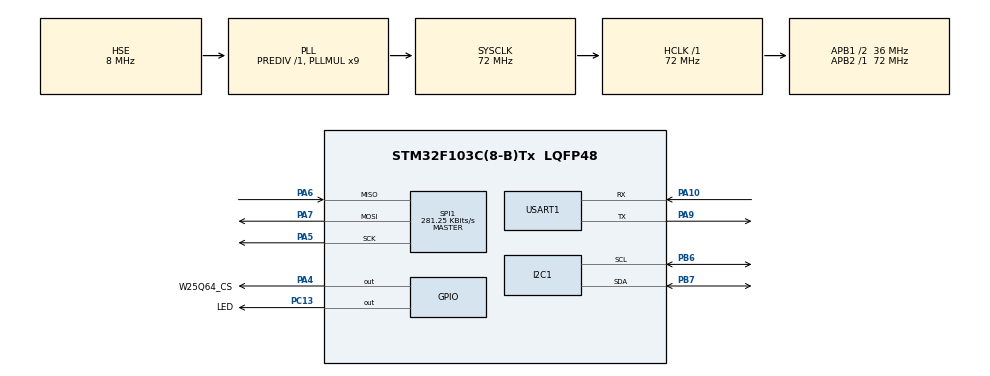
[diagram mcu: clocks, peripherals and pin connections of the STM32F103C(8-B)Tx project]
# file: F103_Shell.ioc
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FREERTOS.Queues01=uart_rx_queue,64,uint8_t,0,Dynamic,NULL,NULL
FREERTOS.Tasks01=defaultTask,24,128,StartDefaultTask,Default,NULL,Dynamic,NULL,NULL
FREERTOS.configTOTAL_HEAP_SIZE=8192
Mcu.Family=STM32F1
Mcu.Name=STM32F103C(8-B)Tx
Mcu.Package=LQFP48
NVIC.PriorityGroup=NVIC_PRIORITYGROUP_4
NVIC.TIM4_IRQn=true\:15\:0\:false\:false\:true\:false\:false\:true\:true
NVIC.TimeBase=TIM4_IRQn
NVIC.TimeBaseIP=TIM4
NVIC.USART1_IRQn=true\:5\:0\:false\:false\:true\:true\:true\:true\:true
PA10.Mode=Asynchronous
PA10.Signal=USART1_RX
PA13.Mode=Serial_Wire
PA13.Signal=SYS_JTMS-SWDIO
PA14.Mode=Serial_Wire
PA14.Signal=SYS_JTCK-SWCLK
PA4.GPIO_Label=W25Q64_CS
PA4.GPIO_Speed=GPIO_SPEED_FREQ_HIGH
PA4.PinState=GPIO_PIN_SET
PA4.Signal=GPIO_Output
PA5.Mode=Full_Duplex_Master
PA5.Signal=SPI1_SCK
PA6.Mode=Full_Duplex_Master
PA6.Signal=SPI1_MISO
PA7.Mode=Full_Duplex_Master
PA7.Signal=SPI1_MOSI
PA9.Mode=Asynchronous
PA9.Signal=USART1_TX
PB6.Mode=I2C
PB6.Signal=I2C1_SCL
PB7.Mode=I2C
PB7.Signal=I2C1_SDA
PC13-TAMPER-RTC.GPIO_Label=LED
PC13-TAMPER-RTC.Signal=GPIO_Output
PD0-OSC_IN.Mode=HSE-External-Oscillator
PD0-OSC_IN.Signal=RCC_OSC_IN
PD1-OSC_OUT.Mode=HSE-External-Oscillator
PD1-OSC_OUT.Signal=RCC_OSC_OUT
ProjectManager.HeapSize=0x200
ProjectManager.StackSize=0x400
ProjectManager.TargetToolchain=CMake
RCC.AHBFreq_Value=72000000
RCC.APB1CLKDivider=RCC_HCLK_DIV2
RCC.APB1Freq_Value=36000000
RCC.APB1TimFreq_Value=72000000
RCC.APB2Freq_Value=72000000
RCC.APB2TimFreq_Value=72000000
RCC.HCLKFreq_Value=72000000
RCC.PLLMUL=RCC_PLL_MUL9
RCC.PLLSourceVirtual=RCC_PLLSOURCE_HSE
RCC.SYSCLKFreq_VALUE=72000000
RCC.SYSCLKSource=RCC_SYSCLKSOURCE_PLLCLK
RCC.USBFreq_Value=72000000
SPI1.BaudRatePrescaler=SPI_BAUDRATEPRESCALER_256
SPI1.CalculateBaudRate=281.25 KBits/s
SPI1.Direction=SPI_DIRECTION_2LINES
SPI1.Mode=SPI_MODE_MASTER
SPI1.VirtualType=VM_MASTER
USART1.VirtualMode=VM_ASYNC
VP_FREERTOS_VS_CMSIS_V2.Mode=CMSIS_V2
VP_SYS_VS_tim4.Mode=TIM4
board=custom

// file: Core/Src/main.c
/* USER CODE BEGIN Header */
/**
 ******************************************************************************
 * @file           : main.c
 * @brief          : Main program body
 ******************************************************************************
 * @attention
 *
 * Copyright (c) 2026 STMicroelectronics.
 * All rights reserved.
 *
 * This software is licensed under terms that can be found in the LICENSE file
 * in the root directory of this software component.
 * If no LICENSE file comes with this software, it is provided AS-IS.
 *
 ******************************************************************************
 */
/* USER CODE END Header */
#include "main.h"
#include "cmsis_os.h"
#include "gpio.h"
#include "i2c.h"
#include "spi.h"
#include "usart.h"

void SystemClock_Config(void);
void MX_FREERTOS_Init(void);

int main(void) {

  /* MCU Configuration--------------------------------------------------------*/

  /* Reset of all peripherals, Initializes the Flash interface and the Systick.
   */
  HAL_Init();

  /* Configure the system clock */
  SystemClock_Config();

  /* Initialize all configured peripherals */
  MX_GPIO_Init();
  MX_I2C1_Init();
  MX_USART1_UART_Init();
  MX_SPI1_Init();

  /* Init scheduler */
  osKernelInitialize(); /* Call init function for freertos objects (in
                           cmsis_os2.c) */
  MX_FREERTOS_Init();

  /* Start scheduler */
  osKernelStart();

  /* We should never get here as control is now taken by the scheduler */

  /* Infinite loop */
  while (1) {

  }
}

void SystemClock_Config(void) {
  RCC_OscInitTypeDef RCC_OscInitStruct = {0};
  RCC_ClkInitTypeDef RCC_ClkInitStruct = {0};

  /** Initializes the RCC Oscillators according to the specified parameters
   * in the RCC_OscInitTypeDef structure.
   */
  RCC_OscInitStruct.OscillatorType = RCC_OSCILLATORTYPE_HSE;
  RCC_OscInitStruct.HSEState = RCC_HSE_ON;
  RCC_OscInitStruct.HSEPredivValue = RCC_HSE_PREDIV_DIV1;
  RCC_OscInitStruct.HSIState = RCC_HSI_ON;
  RCC_OscInitStruct.PLL.PLLState = RCC_PLL_ON;
  RCC_OscInitStruct.PLL.PLLSource = RCC_PLLSOURCE_HSE;
  RCC_OscInitStruct.PLL.PLLMUL = RCC_PLL_MUL9;
  if (HAL_RCC_OscConfig(&RCC_OscInitStruct) != HAL_OK) {
    Error_Handler();
  }

  /** Initializes the CPU, AHB and APB buses clocks
   */
  RCC_ClkInitStruct.ClockType = RCC_CLOCKTYPE_HCLK | RCC_CLOCKTYPE_SYSCLK |
                                RCC_CLOCKTYPE_PCLK1 | RCC_CLOCKTYPE_PCLK2;
  RCC_ClkInitStruct.SYSCLKSource = RCC_SYSCLKSOURCE_PLLCLK;
  RCC_ClkInitStruct.AHBCLKDivider = RCC_SYSCLK_DIV1;
  RCC_ClkInitStruct.APB1CLKDivider = RCC_HCLK_DIV2;
  RCC_ClkInitStruct.APB2CLKDivider = RCC_HCLK_DIV1;

  if (HAL_RCC_ClockConfig(&RCC_ClkInitStruct, FLASH_LATENCY_2) != HAL_OK) {
    Error_Handler();
  }
}

void HAL_TIM_PeriodElapsedCallback(TIM_HandleTypeDef *htim) {
  if (htim->Instance == TIM4) {
    HAL_IncTick();
  }
}

void Error_Handler(void) {
  __disable_irq();
  while (1) {
  }
}
#ifdef USE_FULL_ASSERT
/**
 * @brief  Reports the name of the source file and the source line number
 *         where the assert_param error has occurred.
 * @param  file: pointer to the source file name
 * @param  line: assert_param error line source number
 * @retval None
 */
void assert_failed(uint8_t *file, uint32_t line) {
  /* USER CODE BEGIN 6 */
  /* User can add his own implementation to report the file name and line
     number, ex: printf("Wrong parameters value: file %s on line %d\r\n", file,
     line) */
  /* USER CODE END 6 */
}
#endif /* USE_FULL_ASSERT */

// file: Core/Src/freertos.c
/* USER CODE BEGIN Header */
/**
 ******************************************************************************
 * File Name          : freertos.c
 * Description        : Code for freertos applications
 ******************************************************************************
 */
/* USER CODE END Header */

#include "FreeRTOS.h"
#include "cmsis_os.h"
#include "main.h"
#include "task.h"

/* USER CODE BEGIN Includes */
#include "protocol.h"
#include "sensor_data.h"
#include "stdio.h"
#include "string.h"
#include "w25q64.h"

/* USER CODE END Includes */

/* USER CODE BEGIN PTD */
#define LOG_MAGIC 0xA5
#define FLASH_LOG_START_ADDR 0x000000
#define FLASH_LOG_SECTOR_SIZE 4096
typedef struct {
  uint8_t magic;
  uint32_t timestamp;
  int16_t accel_x;
  int16_t accel_y;
  int16_t accel_z;
  uint8_t reserved[4]; // 4 bytes (Padding)
  uint8_t checksum;
  // total: 16 Bytes
} __attribute__((packed)) LogEntry_t;

// define feedback to host
#define CMD_RESP_ACCEL 0x81
#define CMD_RESP_LOG_ENTRY 0x82
#define CMD_RESP_ACK 0xFF
#define CMD_RESP_ERROR 0xFE
/* USER CODE END PTD */

/* USER CODE BEGIN Variables */
uint8_t rx_data;
extern UART_HandleTypeDef huart1;
extern I2C_HandleTypeDef hi2c1;

uint32_t s_log_addr = FLASH_LOG_START_ADDR;
bool s_logging_active = false;
uint32_t s_log_entry_count = 0;
/* USER CODE END Variables */
/* Definitions for defaultTask */
osThreadId_t defaultTaskHandle;
const osThreadAttr_t defaultTask_attributes = {
    .name = "defaultTask",
    .stack_size = 512 * 4,
    .priority = (osPriority_t)osPriorityNormal,
};
/* Definitions for uart_rx_queue */
osMessageQueueId_t uart_rx_queueHandle;
const osMessageQueueAttr_t uart_rx_queue_attributes = {.name = "uart_rx_queue"};

/* USER CODE BEGIN FunctionPrototypes */
void SensorTask_Entry(void *argument);
void LoggerTask_Entry(void *argument);
uint8_t calc_entry_checksum(LogEntry_t *entry);
void Send_Binary_Response(uint8_t cmd, uint8_t length, uint8_t *data);
/* USER CODE END FunctionPrototypes */

void StartDefaultTask(void *argument);

void MX_FREERTOS_Init(void); /* (MISRA C 2004 rule 8.1) */

void MX_FREERTOS_Init(void) {
  /* USER CODE BEGIN Init */
  SensorData_Init();
  /* USER CODE END Init */

  /* USER CODE BEGIN RTOS_TIMERS */
  /* start timers, add new ones, ... */
  const osThreadAttr_t sensorTask_attr = {
      .name = "SensorTask",
      .stack_size = 256 * 4,
      .priority = (osPriority_t)osPriorityAboveNormal,
  };
  osThreadNew(SensorTask_Entry, NULL, &sensorTask_attr);

  const osThreadAttr_t loggerTask_attr = {
      .name = "LoggerTask",
      .stack_size = 256 * 4,
      .priority = (osPriority_t)osPriorityBelowNormal,
  };
  osThreadNew(LoggerTask_Entry, NULL, &loggerTask_attr);
  /* USER CODE END RTOS_TIMERS */

  /* Create the queue(s) */
  /* creation of uart_rx_queue */
  uart_rx_queueHandle =
      osMessageQueueNew(64, sizeof(uint8_t), &uart_rx_queue_attributes);

  /* Create the thread(s) */
  /* creation of defaultTask */
  defaultTaskHandle =
      osThreadNew(StartDefaultTask, NULL, &defaultTask_attributes);

}

void StartDefaultTask(void *argument) {
  /* USER CODE BEGIN StartDefaultTask */

  uint8_t boot_msg[] = "\r\n=== Welcome to STM32 RTOS Queue Shell ===\r\n> ";
  HAL_UART_Transmit(&huart1, boot_msg, strlen((char *)boot_msg), HAL_MAX_DELAY);
  HAL_UART_Receive_IT(&huart1, &rx_data, 1);

  // wake MPU6500
  uint8_t pwr_mgmt_1_reg = 0x6B;
  uint8_t wake_up_cmd = 0x00;

  // reset I2C1 prevent I2C lockup during hot-reload/reset
  HAL_I2C_DeInit(&hi2c1);
  osDelay(10);
  HAL_I2C_Init(&hi2c1);

  if (HAL_I2C_Mem_Write(&hi2c1, (0x68 << 1), pwr_mgmt_1_reg, 1, &wake_up_cmd, 1,
                        100) == HAL_OK) {
    uint8_t success_msg[] = "MPU6500 Wake up OK!\r\n> ";
    HAL_UART_Transmit(&huart1, success_msg, strlen((char *)success_msg),
                      HAL_MAX_DELAY);
  } else {
    uint8_t err_msg[] = "MPU6500 Wake up FAILED! (Check I2C wiring)\r\n> ";
    HAL_UART_Transmit(&huart1, err_msg, strlen((char *)err_msg), HAL_MAX_DELAY);
  }
  // Enable RX interrupt
  HAL_UART_Receive_IT(&huart1, &rx_data, 1);

  char local_buffer[50];
  uint8_t local_index = 0;
  uint8_t received_byte;

  ProtoParser_t bin_parser;
  Proto_Init(&bin_parser);
  Packet_t rx_packet;

  /* Infinite loop */
  for (;;) {
    if (osMessageQueueGet(uart_rx_queueHandle, &received_byte, NULL,
                          osWaitForever) == osOK) {
      if (Proto_ProcessByte(&bin_parser, received_byte, &rx_packet) == true) {
        switch (rx_packet.cmd) {

        case CMD_GET_ACCEL: {
          SensorData_t snapshot;
          if (SensorData_Read(&snapshot) == true) {
            uint8_t payload[6];
            payload[0] = (snapshot.accel_x >> 8) & 0xFF;
            payload[1] = snapshot.accel_x & 0xFF;
            payload[2] = (snapshot.accel_y >> 8) & 0xFF;
            payload[3] = snapshot.accel_y & 0xFF;
            payload[4] = (snapshot.accel_z >> 8) & 0xFF;
            payload[5] = snapshot.accel_z & 0xFF;
            Send_Binary_Response(CMD_RESP_ACCEL, 6, payload);
          } else {
            uint8_t err_code = 0x01;
            Send_Binary_Response(CMD_RESP_ERROR, 1, &err_code);
          }
          break;
        }

        case CMD_SET_LED: {
          if (rx_packet.length >= 1) {
            if (rx_packet.data[0] == 1) {
              HAL_GPIO_WritePin(LED_GPIO_Port, LED_Pin, GPIO_PIN_RESET); // 開燈
            } else {
              HAL_GPIO_WritePin(LED_GPIO_Port, LED_Pin, GPIO_PIN_SET); // 關燈
            }
            // Return ACK
            uint8_t ack_cmd = rx_packet.cmd;
            Send_Binary_Response(CMD_RESP_ACK, 1, &ack_cmd);
          }
          break;
        }
        case CMD_LOG_START: {
          W25Q64_SectorErase(FLASH_LOG_START_ADDR);
          s_log_addr = FLASH_LOG_START_ADDR;
          s_log_entry_count = 0;
          s_logging_active = true;

          uint8_t ack_cmd = rx_packet.cmd;
          Send_Binary_Response(CMD_RESP_ACK, 1, &ack_cmd);
          break;
        }

        case CMD_LOG_STOP: {
          s_logging_active = false;
          uint8_t ack_cmd = rx_packet.cmd;
          Send_Binary_Response(CMD_RESP_ACK, 1, &ack_cmd);
          break;
        }

        case CMD_LOG_DUMP: {
          uint32_t addr = FLASH_LOG_START_ADDR;
          for (uint32_t i = 0; i < s_log_entry_count; i++) {
            LogEntry_t entry;
            W25Q64_Read(addr, (uint8_t *)&entry, sizeof(LogEntry_t));

            if (entry.magic == LOG_MAGIC &&
                entry.checksum == calc_entry_checksum(&entry)) {
              uint8_t payload[10];
              // Timestamp (32-bit) to 4 bytes (Big-Endian)
              payload[0] = (entry.timestamp >> 24) & 0xFF;
              payload[1] = (entry.timestamp >> 16) & 0xFF;
              payload[2] = (entry.timestamp >> 8) & 0xFF;
              payload[3] = entry.timestamp & 0xFF;
              // Accel X, Y, Z (16-bit) to 6 bytes (Big-Endian)
              payload[4] = (entry.accel_x >> 8) & 0xFF;
              payload[5] = entry.accel_x & 0xFF;
              payload[6] = (entry.accel_y >> 8) & 0xFF;
              payload[7] = entry.accel_y & 0xFF;
              payload[8] = (entry.accel_z >> 8) & 0xFF;
              payload[9] = entry.accel_z & 0xFF;

              Send_Binary_Response(CMD_RESP_LOG_ENTRY, 10, payload);
              osDelay(5);
            }
            addr += sizeof(LogEntry_t);
          }
          // Return ACK After Dump
          uint8_t ack_cmd = rx_packet.cmd;
          Send_Binary_Response(CMD_RESP_ACK, 1, &ack_cmd);
          break;
        }
        }
        continue;
      }

      if (bin_parser.state != PROTO_STATE_WAIT_START || received_byte >= 128) {
        continue;
      }

      // Return Echo While Using ASCII CLI
      HAL_UART_Transmit(&huart1, &received_byte, 1, HAL_MAX_DELAY);

      if (received_byte == '\r' || received_byte == '\n') {
        local_buffer[local_index] = '\0';

        uint8_t newline[] = "\n";
        HAL_UART_Transmit(&huart1, newline, 1, HAL_MAX_DELAY);

        if (strcmp(local_buffer, "led on") == 0) {
          HAL_GPIO_WritePin(LED_GPIO_Port, LED_Pin, GPIO_PIN_RESET);
          uint8_t res[] = "OK! LED is ON.\r\n";
          HAL_UART_Transmit(&huart1, res, strlen((char *)res), HAL_MAX_DELAY);
        } else if (strcmp(local_buffer, "led off") == 0) {
          HAL_GPIO_WritePin(LED_GPIO_Port, LED_Pin, GPIO_PIN_SET);
          uint8_t res[] = "OK! LED is OFF.\r\n";
          HAL_UART_Transmit(&huart1, res, strlen((char *)res), HAL_MAX_DELAY);
        } else if (strcmp(local_buffer, "get accel") == 0) {
          SensorData_t snapshot;

          if (SensorData_Read(&snapshot) == true) {
            char res[100];
            sprintf(res, "Accel X: %d, Y: %d, Z: %d | Tick: %lu\r\n",
                    snapshot.accel_x, snapshot.accel_y, snapshot.accel_z,
                    snapshot.timestamp);

            HAL_UART_Transmit(&huart1, (uint8_t *)res, strlen(res),
                              HAL_MAX_DELAY);
          } else {
            uint8_t err[] = "Error: Sensor data is busy!\r\n";
            HAL_UART_Transmit(&huart1, err, strlen((char *)err), HAL_MAX_DELAY);
          }
        } else if (strcmp(local_buffer, "log start") == 0) {
          W25Q64_SectorErase(FLASH_LOG_START_ADDR);
          s_log_addr = FLASH_LOG_START_ADDR;
          s_log_entry_count = 0;
          s_logging_active = true;
          char res[] = "Logging started! (1 record/sec)\r\n";
          HAL_UART_Transmit(&huart1, (uint8_t *)res, strlen(res),
                            HAL_MAX_DELAY);

        } else if (strcmp(local_buffer, "log stop") == 0) {
          s_logging_active = false;
          char res[60];
          snprintf(res, sizeof(res),
                   "Logging stopped. %lu entries recorded.\r\n",
                   s_log_entry_count);
          HAL_UART_Transmit(&huart1, (uint8_t *)res, strlen(res),
                            HAL_MAX_DELAY);

        } else if (strcmp(local_buffer, "log dump") == 0) {
          char header[] = "--- Log Dump Start ---\r\n";
          HAL_UART_Transmit(&huart1, (uint8_t *)header, strlen(header),
                            HAL_MAX_DELAY);

          uint32_t addr = FLASH_LOG_START_ADDR;
          for (uint32_t i = 0; i < s_log_entry_count; i++) {
            LogEntry_t entry;
            W25Q64_Read(addr, (uint8_t *)&entry, sizeof(LogEntry_t));

            char entry_str[100];
            if (entry.magic != LOG_MAGIC ||
                entry.checksum != calc_entry_checksum(&entry)) {
              snprintf(entry_str, sizeof(entry_str), "[%lu] CORRUPTED DATA\r\n",
                       i);
            } else {
              snprintf(entry_str, sizeof(entry_str),
                       "[%lu] T:%lu | X:%d Y:%d Z:%d\r\n", i, entry.timestamp,
                       entry.accel_x, entry.accel_y, entry.accel_z);
            }
            HAL_UART_Transmit(&huart1, (uint8_t *)entry_str, strlen(entry_str),
                              HAL_MAX_DELAY);
            addr += sizeof(LogEntry_t);
          }
          char footer[] = "--- Log Dump End ---\r\n";
          HAL_UART_Transmit(&huart1, (uint8_t *)footer, strlen(footer),
                            HAL_MAX_DELAY);

        } else if (strcmp(local_buffer, "log clear") == 0) {
          s_logging_active = false;
          W25Q64_SectorErase(FLASH_LOG_START_ADDR);
          s_log_addr = FLASH_LOG_START_ADDR;
          s_log_entry_count = 0;
          char res[] = "Flash Sector 0 cleared.\r\n";
          HAL_UART_Transmit(&huart1, (uint8_t *)res, strlen(res),
                            HAL_MAX_DELAY);
        } else if (local_index > 0) {
          uint8_t res[] = "Error: Unknown command!\r\n";
          HAL_UART_Transmit(&huart1, res, strlen((char *)res), HAL_MAX_DELAY);
        }

        uint8_t prompt[] = "> ";
        HAL_UART_Transmit(&huart1, prompt, 2, HAL_MAX_DELAY);

        local_index = 0;
      } else if (local_index < 49) {
        local_buffer[local_index] = received_byte;
        local_index++;
      }
    }
  }
  /* USER CODE END StartDefaultTask */
}

/* USER CODE BEGIN Application */

void SensorTask_Entry(void *argument) {

  TickType_t xLastWakeTime = xTaskGetTickCount();
  const TickType_t xPeriod = pdMS_TO_TICKS(200);

  for (;;) {
    uint8_t accel_data[6];

    if (HAL_I2C_Mem_Read(&hi2c1, (0x68 << 1), 0x3B, 1, accel_data, 6, 100) ==
        HAL_OK) {
      int16_t ax = (int16_t)((accel_data[0] << 8) | accel_data[1]);
      int16_t ay = (int16_t)((accel_data[2] << 8) | accel_data[3]);
      int16_t az = (int16_t)((accel_data[4] << 8) | accel_data[5]);

      SensorData_Update(ax, ay, az);
    }

    vTaskDelayUntil(&xLastWakeTime, xPeriod);
  }
}

void HAL_UART_RxCpltCallback(UART_HandleTypeDef *huart) {
  if (huart->Instance == USART1) {

    osMessageQueuePut(uart_rx_queueHandle, &rx_data, 0, 0);

    // ready for next character
    HAL_UART_Receive_IT(&huart1, &rx_data, 1);
  }
}

uint8_t calc_entry_checksum(LogEntry_t *entry) {
  uint8_t *p = (uint8_t *)entry;
  uint8_t cs = 0;
  for (size_t i = 0; i < sizeof(LogEntry_t) - 1; i++) {
    cs ^= p[i];
  }
  return cs;
}

void LoggerTask_Entry(void *argument) {
  for (;;) {
    if (s_logging_active) {
      SensorData_t snapshot;

      if (SensorData_Read(&snapshot) == true) {

        LogEntry_t entry = {.magic = LOG_MAGIC,
                            .timestamp = snapshot.timestamp,
                            .accel_x = snapshot.accel_x,
                            .accel_y = snapshot.accel_y,
                            .accel_z = snapshot.accel_z,
                            .reserved = {0xFF, 0xFF, 0xFF, 0xFF},
                            .checksum = 0};
        entry.checksum = calc_entry_checksum(&entry);

        W25Q64_PageProgram(s_log_addr, (uint8_t *)&entry, sizeof(LogEntry_t));
        s_log_addr += sizeof(LogEntry_t);
        s_log_entry_count++;

        if (s_log_addr + sizeof(LogEntry_t) >
            FLASH_LOG_START_ADDR + FLASH_LOG_SECTOR_SIZE) {
          s_logging_active = false;
          char msg[] =
              "\r\n[Warning] Flash Sector Full. Logging stopped.\r\n> ";
          HAL_UART_Transmit(&huart1, (uint8_t *)msg, strlen(msg),
                            HAL_MAX_DELAY);
        }
      }
    }
    // 1 record/sec
    osDelay(1000);
  }
}

void Send_Binary_Response(uint8_t cmd, uint8_t length, uint8_t *data) {
  uint8_t tx_buf[32];
  tx_buf[0] = 0xAA;
  tx_buf[1] = cmd;
  tx_buf[2] = length;

  uint8_t checksum = cmd ^ length;
  for (int i = 0; i < length; i++) {
    tx_buf[3 + i] = data[i];
    checksum ^= data[i];
  }
  tx_buf[3 + length] = checksum;

  HAL_UART_Transmit(&huart1, tx_buf, 4 + length, HAL_MAX_DELAY);
}
/* USER CODE END Application */
